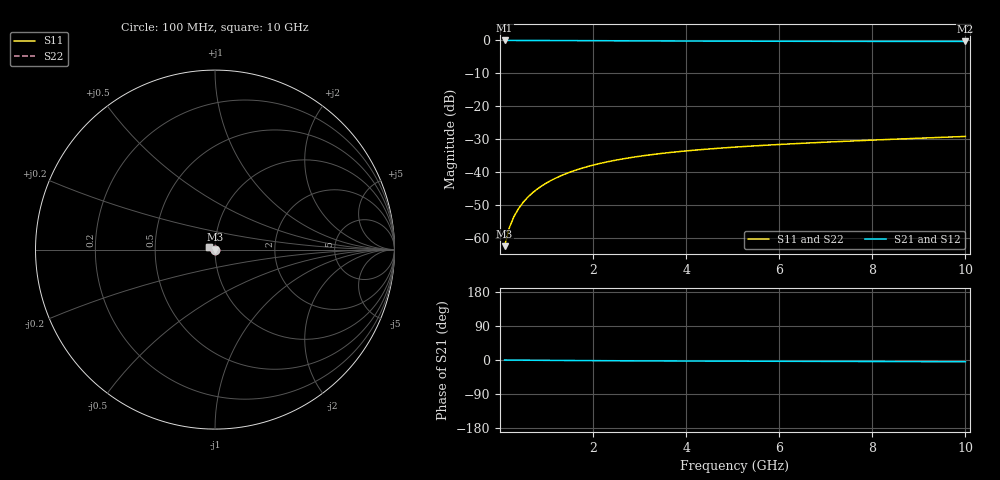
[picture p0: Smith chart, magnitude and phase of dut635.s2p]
! Touchstone file exported from HFSS 2024.1.0
!  File:  C:/UserFiles/LocalFiles/RDL_TSV_Batchsim/temp_TSV1_635_1779790518.aedt
!  Generated:  06:24:01 PM May 26, 2026
!  Design:  TSV1
!  Project:  temp_TSV1_635_1779790518
!  Setup:  Setup1
!  Solution:  Sweep
! Variables:
!  dtsv = 6.95um
!  hbump = 3um
!  htsv = 69.44um
!  lrdl = 252.1521522um
!  p = 40
!  p1 = 48.03um
!  t = 500um
!  trdl = 3um
!  wrdl = 24.89489489um
# GHz S MA R 50.000000
! Terminal data exported
! Port[1] = TSV22_T1
! Port[2] = TSV22_T2
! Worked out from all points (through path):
!   100 points, 100 MHz to 10 GHz, reference 50 ohm
!   highest |S21| = 0.00 dB at 100 MHz (marker M1); lowest = -0.3 dB at 10 GHz (marker M2)
!   lowest |S11| = -62.5 dB at 100 MHz (marker M3), VSWR 1.00, Z = 50 - j0.0704 ohm
!   |S11| at or under -10 dB: start of sweep to end of sweep
!   |S22| runs from -62.5 to -29.2 dB; largest |S21 - S12| = 3.3e-15
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0.1  0.0007461 -70.5  0.9997 -0.1  0.9997 -0.1  0.0007461 -70.5
! Gamma 0 0 0 0
! Port Impedance 50 0 50 0
0.2  0.001414 -83.0  0.9996 -0.2  0.9996 -0.2  0.001414 -83.0
0.3  0.002098 -88.7  0.9995 -0.3  0.9995 -0.3  0.002098 -88.7
0.4  0.002784 -92.6  0.9993 -0.4  0.9993 -0.4  0.002784 -92.6
0.5  0.003468 -95.7  0.9991 -0.5  0.9991 -0.5  0.003468 -95.7
0.6  0.004149 -98.5  0.9988 -0.6  0.9988 -0.6  0.004149 -98.5
0.7  0.004826 -101.0  0.9985 -0.7  0.9985 -0.7  0.004826 -101.0
0.8  0.005496 -103.3  0.9981 -0.8  0.9981 -0.8  0.005496 -103.3
0.9  0.006159 -105.6  0.9977 -0.8  0.9977 -0.8  0.006159 -105.6
1.1  0.007457 -109.8  0.9968 -1.0  0.9968 -1.0  0.007457 -109.8
1.4  0.009325 -115.7  0.9952 -1.3  0.9952 -1.3  0.009325 -115.7
1.6  0.01051 -119.5  0.9941 -1.4  0.9941 -1.4  0.01051 -119.5
1.8  0.01164 -123.1  0.9929 -1.5  0.9929 -1.5  0.01164 -123.1
2.1  0.01324 -128.3  0.991 -1.7  0.991 -1.7  0.01324 -128.3
2.5  0.01519 -134.8  0.9885 -2.0  0.9885 -2.0  0.01519 -134.8
2.9  0.01695 -140.8  0.986 -2.2  0.986 -2.2  0.01695 -140.8
3.4  0.01889 -147.8  0.9831 -2.4  0.9831 -2.4  0.01889 -147.8
4.2  0.02154 -157.7  0.979 -2.8  0.979 -2.8  0.02154 -157.7
5.1  0.02404 -167.3  0.9752 -3.1  0.9752 -3.1  0.02404 -167.3
6.7  0.02778 178.6  0.9703 -3.6  0.9703 -3.6  0.02778 178.6
8.4  0.03137 166.8  0.9668 -4.1  0.9668 -4.1  0.03137 166.8
10  0.03474 157.7  0.9645 -4.7  0.9645 -4.7  0.03474 157.7
